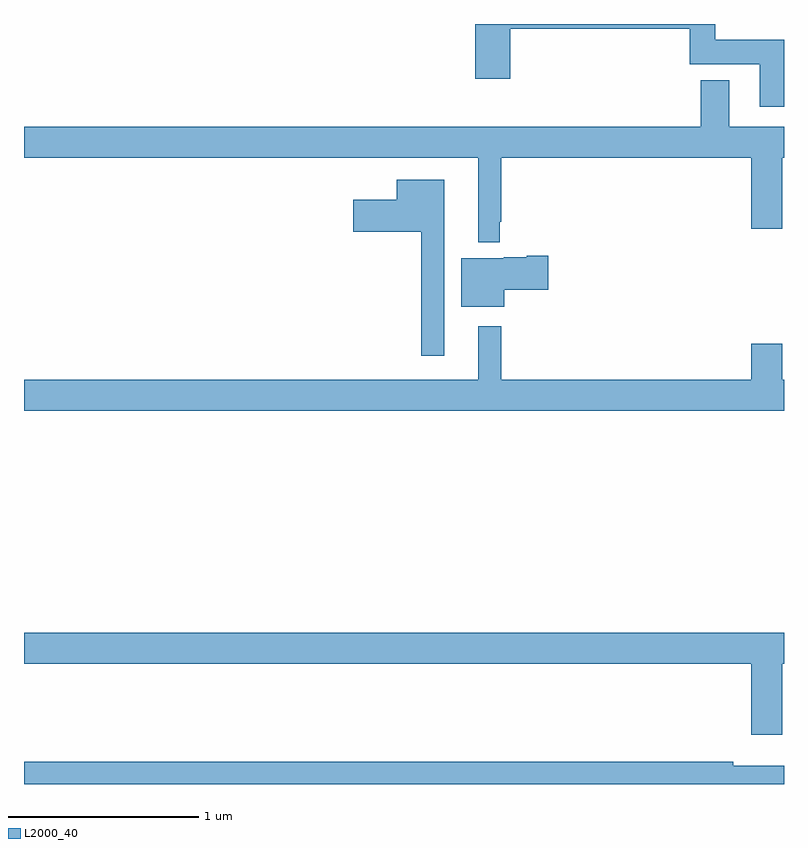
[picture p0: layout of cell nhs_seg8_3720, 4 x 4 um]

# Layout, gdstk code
import gdstk
lib = gdstk.Library(unit=1e-6, precision=1e-09)
def P(c, l, *ps):  # polygons
    for p in ps: c.add(gdstk.Polygon(p, *l))
L2000_40 = (2000, 40)

nhs_seg8_3720 = lib.new_cell('nhs_seg8_3720')
P(nhs_seg8_3720, L2000_40, [(345,1087.816),(344.638,1087.816),(344.638,1087.9),(343.376,1087.9),(343.376,1087.611),(343.559,1087.611),(343.559,1087.876),(344.504,1087.876),(344.504,1087.688),(344.873,1087.688),(344.873,1087.464),(345,1087.464)],
  [(343.505,1086.859),(343.513,1086.859),(343.513,1087.196),(344.828,1087.196),(344.828,1086.822),(344.992,1086.822),(344.992,1087.196),(345,1087.196),(345,1087.36),(344.713,1087.36),(344.713,1087.603),(344.561,1087.603),(344.561,1087.36),(341,1087.36),(341,1087.196),(343.391,1087.196),(343.391,1086.752),(343.505,1086.752)],
  [(343.213,1087.081),(342.962,1087.081),(342.962,1086.976),(342.732,1086.976),(342.732,1086.806),(343.092,1086.806),(343.092,1086.153),(343.213,1086.153)],
  [(343.528,1086.502),(343.759,1086.502),(343.759,1086.68),(343.646,1086.68),(343.646,1086.673),(343.524,1086.673),(343.524,1086.667),(343.301,1086.667),(343.301,1086.413),(343.528,1086.413)],
  [(345,1086.028),(344.992,1086.028),(344.992,1086.217),(344.828,1086.217),(344.828,1086.028),(343.513,1086.028),(343.513,1086.31),(343.391,1086.31),(343.391,1086.028),(341,1086.028),(341,1085.864),(345,1085.864)],
  [(344.992,1084.532),(345,1084.532),(345,1084.696),(341,1084.696),(341,1084.532),(344.828,1084.532),(344.828,1084.158),(344.992,1084.158)],
  [(345,1083.997),(344.732,1083.997),(344.732,1084.016),(341,1084.016),(341,1083.9),(345,1083.9)])

lib.write_gds('nhs_seg8_3720.gds')
